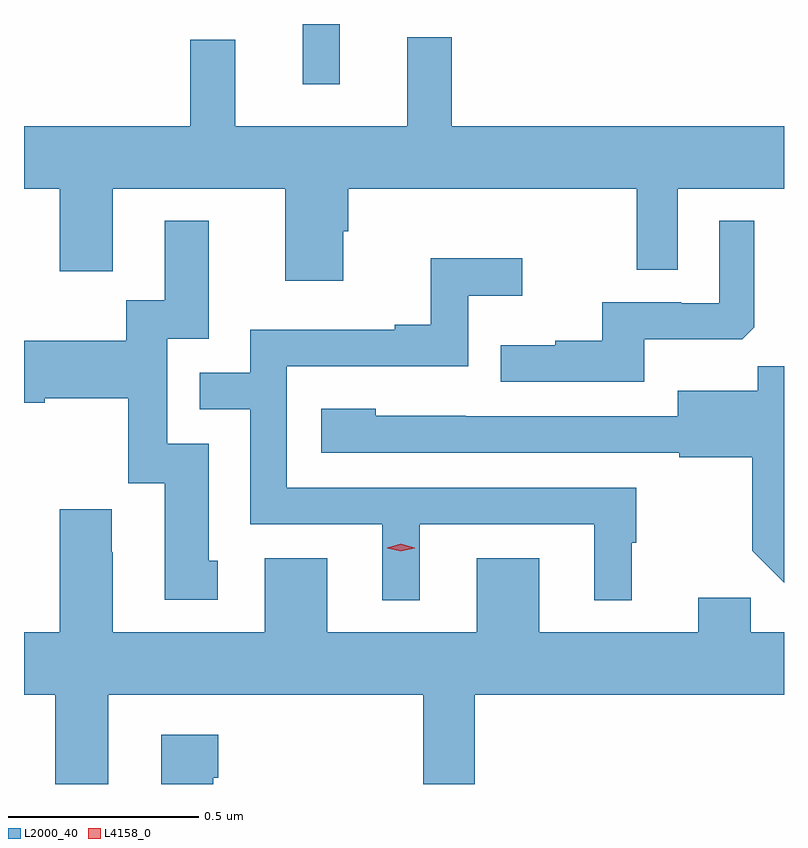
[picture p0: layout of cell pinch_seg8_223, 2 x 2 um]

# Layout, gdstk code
import gdstk
lib = gdstk.Library(unit=1e-6, precision=1e-09)
def R(c, l, rs):  # rectangles x0, y0, x1, y1
    for r in rs: c.add(gdstk.rectangle(r[:2], r[2:], *l))
def P(c, l, *ps):  # polygons
    for p in ps: c.add(gdstk.Polygon(p, *l))
L2000_40 = (2000, 40)
L4158_0 = (4158, 0)

pinch_seg8_223 = lib.new_cell('pinch_seg8_223')
R(pinch_seg8_223, L2000_40, [(670.953,1110.114,671.05,1110.273)])
P(pinch_seg8_223, L2000_40, [(671.059,1109.727),(671.072,1109.727),(671.072,1109.84),(671.832,1109.84),(671.832,1109.626),(671.94,1109.626),(671.94,1109.84),(672.219,1109.84),(672.219,1110.004),(671.345,1110.004),(671.345,1110.238),(671.228,1110.238),(671.228,1110.004),(670.775,1110.004),(670.775,1110.232),(670.657,1110.232),(670.657,1110.004),(670.219,1110.004),(670.219,1109.84),(670.313,1109.84),(670.313,1109.622),(670.453,1109.622),(670.453,1109.84),(670.907,1109.84),(670.907,1109.598),(671.059,1109.598)],
  [(670.729,1108.86),(670.705,1108.86),(670.705,1109.169),(670.596,1109.169),(670.596,1109.445),(670.705,1109.445),(670.705,1109.755),(670.589,1109.755),(670.589,1109.546),(670.488,1109.546),(670.488,1109.44),(670.219,1109.44),(670.219,1109.276),(670.273,1109.276),(670.273,1109.288),(670.493,1109.288),(670.493,1109.064),(670.589,1109.064),(670.589,1108.758),(670.729,1108.758)],
  [(671.851,1109.444),(672.109,1109.444),(672.141,1109.475),(672.141,1109.755),(672.048,1109.755),(672.048,1109.538),(671.948,1109.538),(671.948,1109.541),(671.741,1109.541),(671.741,1109.44),(671.617,1109.44),(671.617,1109.428),(671.473,1109.428),(671.473,1109.331),(671.851,1109.331)],
  [(671.26,1108.956),(671.72,1108.956),(671.72,1108.757),(671.818,1108.757),(671.818,1108.908),(671.83,1108.908),(671.83,1109.052),(670.911,1109.052),(670.911,1109.373),(671.388,1109.373),(671.388,1109.558),(671.53,1109.558),(671.53,1109.657),(671.29,1109.657),(671.29,1109.482),(671.195,1109.482),(671.195,1109.469),(670.815,1109.469),(670.815,1109.355),(670.681,1109.355),(670.681,1109.259),(670.815,1109.259),(670.815,1108.956),(671.162,1108.956),(671.162,1108.757),(671.26,1108.757)],
  [(672.219,1109.372),(672.15,1109.372),(672.15,1109.308),(671.939,1109.308),(671.939,1109.241),(671.381,1109.241),(671.381,1109.242),(671.145,1109.242),(671.145,1109.26),(671.001,1109.26),(671.001,1109.145),(671.943,1109.145),(671.943,1109.133),(672.135,1109.133),(672.135,1108.887),(672.219,1108.803)],
  [(670.441,1108.508),(671.269,1108.508),(671.269,1108.273),(671.405,1108.273),(671.405,1108.508),(672.219,1108.508),(672.219,1108.672),(672.131,1108.672),(672.131,1108.763),(671.993,1108.763),(671.993,1108.672),(671.575,1108.672),(671.575,1108.867),(671.411,1108.867),(671.411,1108.672),(671.017,1108.672),(671.017,1108.867),(670.853,1108.867),(670.853,1108.672),(670.453,1108.672),(670.453,1108.883),(670.45,1108.883),(670.45,1108.996),(670.313,1108.996),(670.313,1108.672),(670.219,1108.672),(670.219,1108.508),(670.301,1108.508),(670.301,1108.273),(670.441,1108.273)],
  [(670.717,1108.289),(670.73,1108.289),(670.73,1108.402),(670.58,1108.402),(670.58,1108.273),(670.717,1108.273)])
P(pinch_seg8_223, L4158_0, [(671.211,1108.885),(671.175,1108.894),(671.175,1108.895),(671.175,1108.895),(671.211,1108.905),(671.247,1108.895),(671.247,1108.895),(671.247,1108.894)])

lib.write_gds('pinch_seg8_223.gds')
